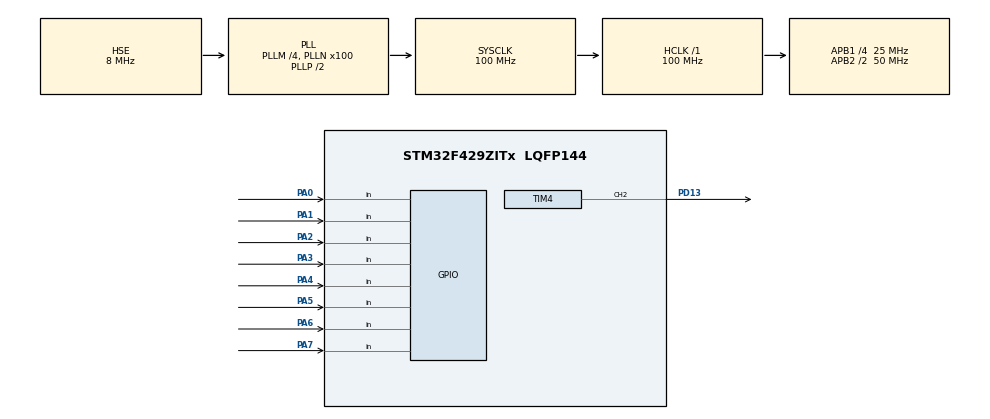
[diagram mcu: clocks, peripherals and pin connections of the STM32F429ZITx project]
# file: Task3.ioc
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Mcu.Family=STM32F4
Mcu.Name=STM32F429ZITx
Mcu.Package=LQFP144
NVIC.PriorityGroup=NVIC_PRIORITYGROUP_4
NVIC.TIM4_IRQn=true\:0\:0\:false\:false\:true\:true\:true
PA0/WKUP.Signal=GPIO_Input
PA1.Signal=GPIO_Input
PA2.Signal=GPIO_Input
PA3.Signal=GPIO_Input
PA4.Signal=GPIO_Input
PA5.Signal=GPIO_Input
PA6.Signal=GPIO_Input
PA7.Signal=GPIO_Input
PD13.Signal=S_TIM4_CH2
PH0/OSC_IN.Mode=HSE-External-Oscillator
PH0/OSC_IN.Signal=RCC_OSC_IN
PH1/OSC_OUT.Mode=HSE-External-Oscillator
PH1/OSC_OUT.Signal=RCC_OSC_OUT
ProjectManager.HeapSize=0x200
ProjectManager.StackSize=0x400
ProjectManager.TargetToolchain=EWARM V8.32
RCC.48MHZClocksFreq_Value=50000000
RCC.AHBFreq_Value=100000000
RCC.APB1CLKDivider=RCC_HCLK_DIV4
RCC.APB1Freq_Value=25000000
RCC.APB1TimFreq_Value=50000000
RCC.APB2CLKDivider=RCC_HCLK_DIV2
RCC.APB2Freq_Value=50000000
RCC.APB2TimFreq_Value=100000000
RCC.CortexFreq_Value=100000000
RCC.HCLKFreq_Value=100000000
RCC.HSE_VALUE=8000000
RCC.HSI_VALUE=16000000
RCC.LSE_VALUE=32768
RCC.PLLM=4
RCC.PLLN=100
RCC.PLLSourceVirtual=RCC_PLLSOURCE_HSE
RCC.SYSCLKFreq_VALUE=100000000
RCC.SYSCLKSource=RCC_SYSCLKSOURCE_PLLCLK
RCC.VCOOutputFreq_Value=200000000
SH.S_TIM4_CH2.0=TIM4_CH2,PWM Generation2 CH2
TIM4.Channel-PWM\ Generation2\ CH2=TIM_CHANNEL_2
TIM4.Period=0xffff-1
TIM4.Prescaler=0
VP_TIM4_VS_ClockSourceINT.Mode=Internal
board=custom

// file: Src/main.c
/* USER CODE BEGIN Header */
/**
  ******************************************************************************
  * @file           : main.c
  * @brief          : Main program body
  ******************************************************************************
  * @attention
  *
  * <h2><center>&copy; Copyright (c) 2020 STMicroelectronics.
  * All rights reserved.</center></h2>
  *
  * This software component is licensed by ST under BSD 3-Clause license,
  * the "License"; You may not use this file except in compliance with the
  * License. You may obtain a copy of the License at:
  *                        opensource.org/licenses/BSD-3-Clause
  *
  ******************************************************************************
  */
/* USER CODE END Header */

#include "main.h"

TIM_HandleTypeDef htim4;

/* USER CODE BEGIN PV */
   double pwm_value = 0;
   uint16_t TimerPeriod = 0;
   uint16_t Frequency = 4000;

    uint16_t  val1 = 0;

    uint16_t  val2 = 0;
    uint16_t  val3 =0;

/* USER CODE END PV */

void SystemClock_Config(void);
static void MX_GPIO_Init(void);
static void MX_TIM4_Init(void);

/* USER CODE BEGIN 0 */
void user_pwm_setvalue(uint16_t value)
{
    TIM_OC_InitTypeDef sConfigOC;

    sConfigOC.OCMode = TIM_OCMODE_PWM1;
    sConfigOC.Pulse = value;
    sConfigOC.OCPolarity = TIM_OCPOLARITY_HIGH;
    sConfigOC.OCFastMode = TIM_OCFAST_DISABLE;
    HAL_TIM_PWM_ConfigChannel(&htim4, &sConfigOC, TIM_CHANNEL_2);
    HAL_TIM_PWM_Start(&htim4, TIM_CHANNEL_2);
}
/* USER CODE END 0 */

int main(void)
{

  /* MCU Configuration--------------------------------------------------------*/

  /* Reset of all peripherals, Initializes the Flash interface and the Systick. */
  HAL_Init();

  /* Configure the system clock */
  SystemClock_Config();

  /* Initialize all configured peripherals */
  MX_GPIO_Init();
  MX_TIM4_Init();
  /* USER CODE BEGIN 2 */
  HAL_TIM_PWM_Start(&htim4, TIM_CHANNEL_2);

  /* USER CODE END 2 */

  /* Infinite loop */
  while (1)
  {

    /* USER CODE BEGIN 3 */

      val1 = (GPIOA->IDR & 0x00f0);
      val1 = val1>> 4;
      val1 = val1 * 10;
      val2 = (GPIOA->IDR & 0x000f);
      val3 = val1+val2;

    pwm_value =  (((val3/100.0) * (12499.0)));

    user_pwm_setvalue ((uint16_t)pwm_value);
  }
  /* USER CODE END 3 */
}

void SystemClock_Config(void)
{
  RCC_OscInitTypeDef RCC_OscInitStruct = {0};
  RCC_ClkInitTypeDef RCC_ClkInitStruct = {0};

  /** Configure the main internal regulator output voltage
  */
  __HAL_RCC_PWR_CLK_ENABLE();
  __HAL_PWR_VOLTAGESCALING_CONFIG(PWR_REGULATOR_VOLTAGE_SCALE3);
  /** Initializes the CPU, AHB and APB busses clocks
  */
  RCC_OscInitStruct.OscillatorType = RCC_OSCILLATORTYPE_HSE;
  RCC_OscInitStruct.HSEState = RCC_HSE_ON;
  RCC_OscInitStruct.PLL.PLLState = RCC_PLL_ON;
  RCC_OscInitStruct.PLL.PLLSource = RCC_PLLSOURCE_HSE;
  RCC_OscInitStruct.PLL.PLLM = 4;
  RCC_OscInitStruct.PLL.PLLN = 100;
  RCC_OscInitStruct.PLL.PLLP = RCC_PLLP_DIV2;
  RCC_OscInitStruct.PLL.PLLQ = 4;
  if (HAL_RCC_OscConfig(&RCC_OscInitStruct) != HAL_OK)
  {
    Error_Handler();
  }
  /** Initializes the CPU, AHB and APB busses clocks
  */
  RCC_ClkInitStruct.ClockType = RCC_CLOCKTYPE_HCLK|RCC_CLOCKTYPE_SYSCLK
                              |RCC_CLOCKTYPE_PCLK1|RCC_CLOCKTYPE_PCLK2;
  RCC_ClkInitStruct.SYSCLKSource = RCC_SYSCLKSOURCE_PLLCLK;
  RCC_ClkInitStruct.AHBCLKDivider = RCC_SYSCLK_DIV1;
  RCC_ClkInitStruct.APB1CLKDivider = RCC_HCLK_DIV4;
  RCC_ClkInitStruct.APB2CLKDivider = RCC_HCLK_DIV2;

  if (HAL_RCC_ClockConfig(&RCC_ClkInitStruct, FLASH_LATENCY_3) != HAL_OK)
  {
    Error_Handler();
  }
}

static void MX_TIM4_Init(void)
{

  TIM_ClockConfigTypeDef sClockSourceConfig = {0};
  TIM_MasterConfigTypeDef sMasterConfig = {0};
  TIM_OC_InitTypeDef sConfigOC = {0};

  htim4.Instance = TIM4;
  htim4.Init.Prescaler = 0;
  htim4.Init.CounterMode = TIM_COUNTERMODE_UP;
  htim4.Init.Period = 0xffff-1;
  htim4.Init.ClockDivision = TIM_CLOCKDIVISION_DIV1;
  htim4.Init.AutoReloadPreload = TIM_AUTORELOAD_PRELOAD_DISABLE;
  if (HAL_TIM_Base_Init(&htim4) != HAL_OK)
  {
    Error_Handler();
  }
  sClockSourceConfig.ClockSource = TIM_CLOCKSOURCE_INTERNAL;
  if (HAL_TIM_ConfigClockSource(&htim4, &sClockSourceConfig) != HAL_OK)
  {
    Error_Handler();
  }
  if (HAL_TIM_PWM_Init(&htim4) != HAL_OK)
  {
    Error_Handler();
  }
  sMasterConfig.MasterOutputTrigger = TIM_TRGO_RESET;
  sMasterConfig.MasterSlaveMode = TIM_MASTERSLAVEMODE_DISABLE;
  if (HAL_TIMEx_MasterConfigSynchronization(&htim4, &sMasterConfig) != HAL_OK)
  {
    Error_Handler();
  }
  sConfigOC.OCMode = TIM_OCMODE_PWM1;
  sConfigOC.Pulse = 0;
  sConfigOC.OCPolarity = TIM_OCPOLARITY_HIGH;
  sConfigOC.OCFastMode = TIM_OCFAST_DISABLE;
  if (HAL_TIM_PWM_ConfigChannel(&htim4, &sConfigOC, TIM_CHANNEL_2) != HAL_OK)
  {
    Error_Handler();
  }
  HAL_TIM_MspPostInit(&htim4);

}

static void MX_GPIO_Init(void)
{
  GPIO_InitTypeDef GPIO_InitStruct = {0};

  /* GPIO Ports Clock Enable */
  __HAL_RCC_GPIOH_CLK_ENABLE();
  __HAL_RCC_GPIOA_CLK_ENABLE();
  __HAL_RCC_GPIOD_CLK_ENABLE();

  /*Configure GPIO pins : PA0 PA1 PA2 PA3
                           PA4 PA5 PA6 PA7 */
  GPIO_InitStruct.Pin = GPIO_PIN_0|GPIO_PIN_1|GPIO_PIN_2|GPIO_PIN_3
                          |GPIO_PIN_4|GPIO_PIN_5|GPIO_PIN_6|GPIO_PIN_7;
  GPIO_InitStruct.Mode = GPIO_MODE_INPUT;
  GPIO_InitStruct.Pull = GPIO_NOPULL;
  HAL_GPIO_Init(GPIOA, &GPIO_InitStruct);

}

void Error_Handler(void)
{
}

/************************ (C) COPYRIGHT STMicroelectronics *****END OF FILE****/
